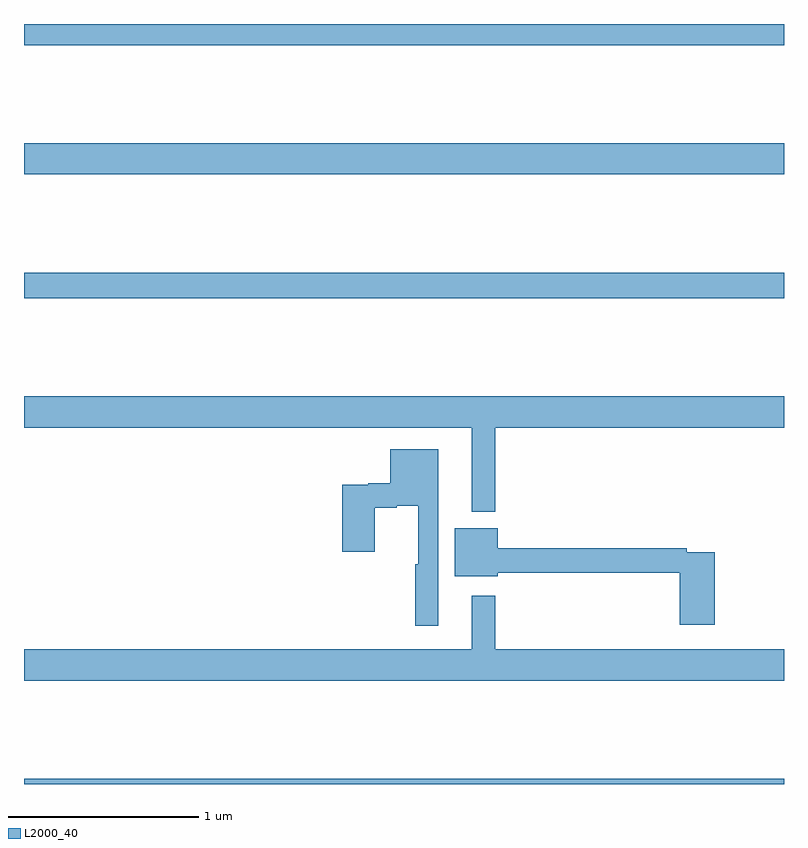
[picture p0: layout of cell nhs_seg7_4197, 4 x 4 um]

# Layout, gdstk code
import gdstk
lib = gdstk.Library(unit=1e-6, precision=1e-09)
def R(c, l, rs):  # rectangles x0, y0, x1, y1
    for r in rs: c.add(gdstk.rectangle(r[:2], r[2:], *l))
def P(c, l, *ps):  # polygons
    for p in ps: c.add(gdstk.Polygon(p, *l))
L2000_40 = (2000, 40)

nhs_seg7_4197 = lib.new_cell('nhs_seg7_4197')
R(nhs_seg7_4197, L2000_40, [(375,1072,379,1072.028), (375,1074.556,379,1074.692), (375,1075.208,379,1075.372), (375,1075.888,379,1076)])
P(nhs_seg7_4197, L2000_40, [(377.479,1073.876),(379,1073.876),(379,1074.04),(375,1074.04),(375,1073.876),(377.357,1073.876),(377.357,1073.432),(377.479,1073.432)],
  [(377.179,1073.761),(376.928,1073.761),(376.928,1073.583),(376.812,1073.583),(376.812,1073.575),(376.676,1073.575),(376.676,1073.223),(376.846,1073.223),(376.846,1073.453),(376.961,1073.453),(376.961,1073.465),(377.075,1073.465),(377.075,1073.157),(377.058,1073.157),(377.058,1072.833),(377.179,1072.833)],
  [(378.635,1073.22),(378.488,1073.22),(378.488,1073.24),(377.494,1073.24),(377.494,1073.347),(377.267,1073.347),(377.267,1073.093),(377.494,1073.093),(377.494,1073.112),(378.452,1073.112),(378.452,1072.839),(378.635,1072.839)],
  [(379,1072.708),(377.479,1072.708),(377.479,1072.99),(377.357,1072.99),(377.357,1072.708),(375,1072.708),(375,1072.544),(379,1072.544)])

lib.write_gds('nhs_seg7_4197.gds')
